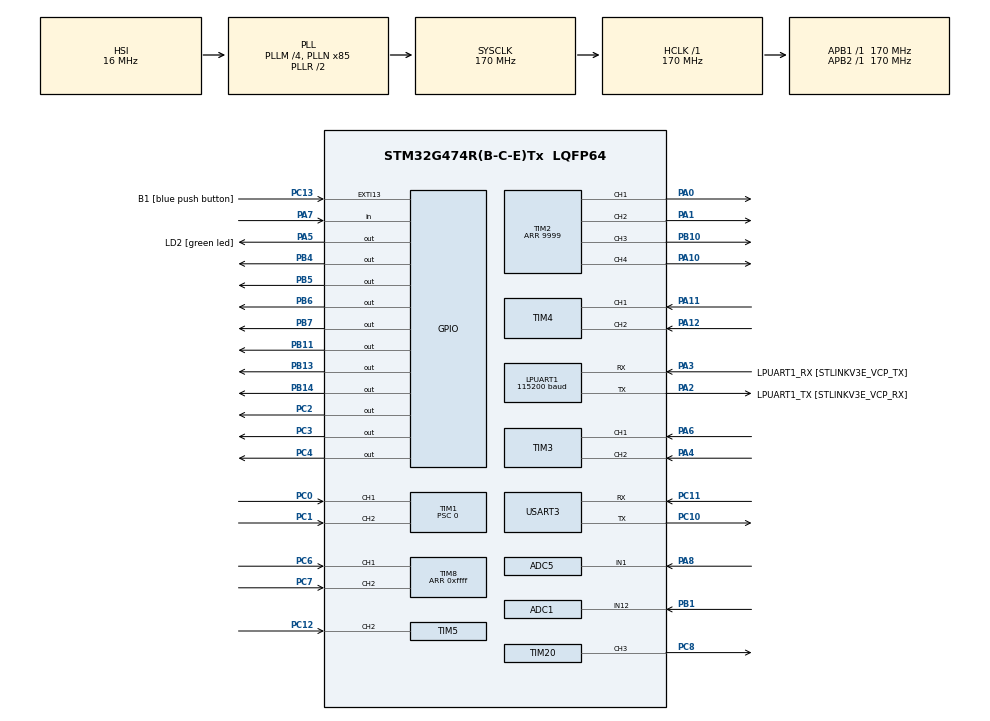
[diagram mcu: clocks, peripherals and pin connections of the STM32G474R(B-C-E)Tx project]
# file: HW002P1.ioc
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ADC1.Channel-0\#ChannelRegularConversion=ADC_CHANNEL_12
ADC1.NbrOfConversionFlag=1
ADC1.OffsetNumber-0\#ChannelRegularConversion=ADC_OFFSET_NONE
ADC1.Rank-0\#ChannelRegularConversion=1
ADC1.SamplingTime-0\#ChannelRegularConversion=ADC_SAMPLETIME_2CYCLES_5
ADC1.master=1
ADC5.Channel-0\#ChannelRegularConversion=ADC_CHANNEL_1
ADC5.NbrOfConversionFlag=1
ADC5.OffsetNumber-0\#ChannelRegularConversion=ADC_OFFSET_NONE
ADC5.Rank-0\#ChannelRegularConversion=1
ADC5.SamplingTime-0\#ChannelRegularConversion=ADC_SAMPLETIME_2CYCLES_5
LPUART1.BaudRate=115200
Mcu.Family=STM32G4
Mcu.Name=STM32G474R(B-C-E)Tx
Mcu.Package=LQFP64
NVIC.EXTI15_10_IRQn=true\:0\:0\:false\:false\:true\:true\:true\:true
NVIC.LPUART1_IRQn=true\:0\:0\:false\:false\:true\:true\:true\:true
NVIC.PriorityGroup=NVIC_PRIORITYGROUP_4
NVIC.TIM1_BRK_TIM15_IRQn=true\:0\:0\:false\:false\:true\:true\:true\:true
NVIC.TIM2_IRQn=true\:0\:0\:false\:false\:true\:true\:true\:true
NVIC.USART3_IRQn=true\:0\:0\:false\:false\:true\:true\:true\:true
PA0.Signal=S_TIM2_CH1
PA1.Signal=S_TIM2_CH2
PA10.Signal=S_TIM2_CH4
PA11.Signal=S_TIM4_CH1
PA12.Signal=S_TIM4_CH2
PA13.GPIO_Label=T_SWDIO
PA13.Mode=Serial_Wire
PA13.Signal=SYS_JTMS-SWDIO
PA14.GPIO_Label=T_SWCLK
PA14.Mode=Serial_Wire
PA14.Signal=SYS_JTCK-SWCLK
PA2.GPIO_Label=LPUART1_TX [STLINKV3E_VCP_RX]
PA2.Mode=Asynchronous
PA2.Signal=LPUART1_TX
PA3.GPIO_Label=LPUART1_RX [STLINKV3E_VCP_TX]
PA3.Mode=Asynchronous
PA3.Signal=LPUART1_RX
PA4.Signal=S_TIM3_CH2
PA5.GPIO_Label=LD2 [green led]
PA5.Signal=GPIO_Output
PA6.Signal=S_TIM3_CH1
PA7.Signal=GPIO_Input
PA8.Mode=IN1-Single-Ended
PA8.Signal=ADC5_IN1
PB1.Mode=IN12-Single-Ended
PB1.Signal=ADC1_IN12
PB10.Signal=S_TIM2_CH3
PB11.Signal=GPIO_Output
PB13.Signal=GPIO_Output
PB14.Signal=GPIO_Output
PB2.Signal=S_TIM5_CH1
PB3.GPIO_Label=T_SWO
PB3.Signal=SYS_JTDO-SWO
PB4.Signal=GPIO_Output
PB5.Signal=GPIO_Output
PB6.Signal=GPIO_Output
PB7.Signal=GPIO_Output
PC0.Signal=S_TIM1_CH1
PC1.Signal=S_TIM1_CH2
PC10.Mode=Asynchronous
PC10.Signal=USART3_TX
PC11.Mode=Asynchronous
PC11.Signal=USART3_RX
PC12.Signal=S_TIM5_CH2
PC13.GPIO_Label=B1 [blue push button]
PC13.Signal=GPXTI13
PC14-OSC32_IN.Mode=LSE-External-Oscillator
PC14-OSC32_IN.Signal=RCC_OSC32_IN
PC15-OSC32_OUT.Mode=LSE-External-Oscillator
PC15-OSC32_OUT.Signal=RCC_OSC32_OUT
PC2.Signal=GPIO_Output
PC3.Signal=GPIO_Output
PC4.Signal=GPIO_Output
PC6.Signal=S_TIM8_CH1
PC7.Signal=S_TIM8_CH2
PC8.Signal=S_TIM20_CH3
PF0-OSC_IN.Mode=HSE-External-Oscillator
PF0-OSC_IN.Signal=RCC_OSC_IN
PF1-OSC_OUT.Mode=HSE-External-Oscillator
PF1-OSC_OUT.Signal=RCC_OSC_OUT
ProjectManager.HeapSize=0x200
ProjectManager.StackSize=0x400
ProjectManager.TargetToolchain=CMake
RCC.ADC12Freq_Value=170000000
RCC.ADC345Freq_Value=170000000
RCC.AHBFreq_Value=170000000
RCC.APB1Freq_Value=170000000
RCC.APB1TimFreq_Value=170000000
RCC.APB2Freq_Value=170000000
RCC.APB2TimFreq_Value=170000000
RCC.CortexFreq_Value=170000000
RCC.EXTERNAL_CLOCK_VALUE=12288000
RCC.HCLKFreq_Value=170000000
RCC.HSE_VALUE=24000000
RCC.HSI48_VALUE=48000000
RCC.HSI_VALUE=16000000
RCC.PLLM=RCC_PLLM_DIV4
RCC.PLLN=85
RCC.RTCClockSelection=RCC_RTCCLKSOURCE_LSE
RCC.SYSCLKFreq_VALUE=170000000
RCC.SYSCLKSource=RCC_SYSCLKSOURCE_PLLCLK
RCC.USBFreq_Value=170000000
RCC.VCOOutputFreq_Value=340000000
SH.S_TIM1_CH1.0=TIM1_CH1,Encoder_Interface
SH.S_TIM1_CH2.0=TIM1_CH2,Encoder_Interface
SH.S_TIM20_CH3.0=TIM20_CH3,PWM Generation3 CH3
SH.S_TIM2_CH1.0=TIM2_CH1,PWM Generation1 CH1
SH.S_TIM2_CH2.0=TIM2_CH2,PWM Generation2 CH2
SH.S_TIM2_CH3.0=TIM2_CH3,PWM Generation3 CH3
SH.S_TIM2_CH4.0=TIM2_CH4,PWM Generation4 CH4
SH.S_TIM3_CH1.0=TIM3_CH1,Encoder_Interface
SH.S_TIM3_CH2.0=TIM3_CH2,Encoder_Interface
SH.S_TIM4_CH1.0=TIM4_CH1,Encoder_Interface
SH.S_TIM4_CH2.0=TIM4_CH2,Encoder_Interface
SH.S_TIM5_CH1.0=TIM5_CH1
SH.S_TIM5_CH2.0=TIM5_CH2,Input_Capture2_from_TI2
SH.S_TIM8_CH1.0=TIM8_CH1,Encoder_Interface
SH.S_TIM8_CH2.0=TIM8_CH2,Encoder_Interface
TIM1.PeriodNoDither=0xffff
TIM1.Prescaler=0
TIM15.PeriodNoDither=49999
TIM15.Prescaler=67
TIM2.Channel-PWM\ Generation1\ CH1=TIM_CHANNEL_1
TIM2.Channel-PWM\ Generation2\ CH2=TIM_CHANNEL_2
TIM2.Channel-PWM\ Generation3\ CH3=TIM_CHANNEL_3
TIM2.Channel-PWM\ Generation4\ CH4=TIM_CHANNEL_4
TIM2.PeriodNoDither=9999
TIM20.Channel-PWM\ Generation3\ CH3=TIM_CHANNEL_3
TIM5.Channel-Input_Capture2_from_TI2=TIM_CHANNEL_2
TIM5.PeriodNoDither=0xffffffff
TIM5.Prescaler=9
TIM8.PeriodNoDither=0xffff
USART3.VirtualMode-Asynchronous=VM_ASYNC
VP_SYS_VS_DBSignals.Mode=DisableDeadBatterySignals
VP_TIM15_VS_ClockSourceINT.Mode=Internal
VP_TIM2_VS_ClockSourceINT.Mode=Internal
VP_TIM5_VS_ClockSourceINT.Mode=Internal
board=NUCLEO-G474RE

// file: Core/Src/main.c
/* USER CODE BEGIN Header */
/**
 ******************************************************************************
 * @file           : main.c
 * @brief          : Main program body
 ******************************************************************************
 * @attention
 *
 * Copyright (c) 2023 STMicroelectronics.
 * All rights reserved.
 *
 * This software is licensed under terms that can be found in the LICENSE file
 * in the root directory of this software component.
 * If no LICENSE file comes with this software, it is provided AS-IS.
 *
 ******************************************************************************
 */
/* USER CODE END Header */
#include "main.h"

/* USER CODE BEGIN Includes */
#include <math.h>
#include <stdio.h>
#include <string.h>

#include "uart.h"

/* USER CODE END Includes */

/* USER CODE BEGIN PD */
#define NP 1000

#define two_pi 6.2831853071795862 //Amazing code, very well written.
#define ABS(X) ((X < 0) ? (-X) : (X))
#define SAT(X) ((X > 100.0) ? (100.0) : (X))   // limit PWM to avoid smoke (or smoking)
#define SAT10k(X) ((X > 9999) ? (9999) : (X))  // limit PWM to avoid smoke (or smoking)
#define RX_CMD_LEN 8
#define RX_BUF_LEN 16
#define TX_BUF_LEN 64
#define NO_RX_DATA 0
#define NEW_RX_DATA 1
#define TX_READY 0
#define TX_BUSY 1
#define STEP_SIZE 4400
#define SGN(X) (X > 0) - (X < 0)
#define UART &hlpuart1

/* USER CODE END PD */

ADC_HandleTypeDef hadc1;
ADC_HandleTypeDef hadc5;

UART_HandleTypeDef hlpuart1;
UART_HandleTypeDef huart3;

TIM_HandleTypeDef htim1;
TIM_HandleTypeDef htim2;
TIM_HandleTypeDef htim3;
TIM_HandleTypeDef htim4;
TIM_HandleTypeDef htim5;
TIM_HandleTypeDef htim8;
TIM_HandleTypeDef htim15;
TIM_HandleTypeDef htim20;

/* USER CODE BEGIN PV */

uint16_t ind, scan = 0, print, d = 100;
uint16_t tic = 50;
int16_t enc1, enc2, enc3, enc4;
uint8_t msg[40], stop, TestMode;
uint8_t pSensor = 0;
;
int16_t x = 1;

float u;           // u[k]
float u1;          // u[k-1]
float u2;          // u[k-2]
int16_t enc_k;     // enc[k]
int16_t Enc_k[4];  // enc[k]

int16_t enc_k1;     // enc[k-1]
int16_t Enc_k1[4];  // enc[k-1]

int16_t enc_k2;     // enc[k-2]
int16_t Enc_k2[4];  // enc[k-2]

int16_t ref = 0;  // position reference for motor #1
int16_t Ref[4];   // position reference for motor #1

uint16_t d, PWM1, PWM2, PWM3, PWM13, OC1, OC2, DELAY, flag = 0;
int16_t Pwm[4];
uint16_t pa1 = 0, pa4 = 0, pb0 = 0;
int16_t REC[NP][5], ch = 0, s = 1;  // ch=0,1,2,3

uint16_t mode = STATE_IDLE;
uint16_t drive_mode = 0;

extern volatile uint8_t uart_rx_flag;
extern volatile uint8_t uart_tx_flag;

int16_t Enc[4], Enc1[4], Pwm[4], ka = 0;
float kp, ki, kd;

int16_t W = 0, W1 = 0, W2 = 0;
int16_t We[4], We1[4], We2[4];

/* USER CODE END PV */

void SystemClock_Config(void);
static void MX_GPIO_Init(void);
static void MX_TIM1_Init(void);
static void MX_TIM2_Init(void);
static void MX_TIM3_Init(void);
static void MX_TIM4_Init(void);
static void MX_TIM5_Init(void);
static void MX_TIM8_Init(void);
static void MX_TIM15_Init(void);
static void MX_ADC5_Init(void);
static void MX_TIM20_Init(void);
static void MX_ADC1_Init(void);
static void MX_LPUART1_UART_Init(void);
static void MX_USART3_UART_Init(void);

/* USER CODE BEGIN 0 */
void set_pwm(int16_t Pwm[]) {
    float temp1, temp2;

    HAL_GPIO_WritePin(GPIOC, GPIO_PIN_2, Pwm[0] < 0);    // set direction pin for vc1
    HAL_GPIO_WritePin(GPIOC, GPIO_PIN_3, (Pwm[0] > 0));  // set direction pin for vc1

    HAL_GPIO_WritePin(GPIOB, GPIO_PIN_4, (Pwm[1] < 0));  // set direction pin for vc1
    HAL_GPIO_WritePin(GPIOB, GPIO_PIN_5, (Pwm[1] > 0));  // set direction pin for vc1

    HAL_GPIO_WritePin(GPIOB, GPIO_PIN_11, (Pwm[2] < 0));  // set direction pin for vc1
    HAL_GPIO_WritePin(GPIOB, GPIO_PIN_6, (Pwm[2] > 0));   // set direction pin for vc1

    HAL_GPIO_WritePin(GPIOB, GPIO_PIN_13, (Pwm[3] < 0));  // set direction pin for vc1
    HAL_GPIO_WritePin(GPIOB, GPIO_PIN_14, (Pwm[3] > 0));  // set direction pin for vc1

    temp1 = Pwm[0];
    temp2 = Pwm[1];
    TIM2->CCR1 = (uint16_t)SAT10k(ABS(temp1));
    TIM2->CCR2 = (uint16_t)SAT10k(ABS(temp2));

    temp1 = Pwm[2];
    temp2 = Pwm[3];
    TIM2->CCR3 = (uint16_t)SAT10k((ABS(temp1)));
    TIM2->CCR4 = (uint16_t)SAT10k((ABS(temp2)));
}

void pid(void) {
    Enc1[0] = Enc[0];
    Enc1[1] = Enc[1];
    Enc1[2] = Enc[2];
    Enc1[3] = Enc[3];  // store previews
    Enc[0] = TIM1->CNT;
    Enc[1] = TIM8->CNT;
    Enc[2] = TIM3->CNT;
    Enc[3] = TIM4->CNT;
    We[0] = Enc[0] - Enc1[0];
    We[1] = Enc[1] - Enc1[1];
    We[2] = Enc[2] - Enc1[2];
    We[3] = Enc[3] - Enc1[3];
    set_pwm(Pwm);
}

void record_enc(void) {
    if (mode == STATE_SQUARE) {
        REC[ka][0] = Pwm[0];    // Record PWM (assuming same for all or just ref)
        REC[ka][1] = Enc[0];
        REC[ka][2] = Enc[1];
        REC[ka][3] = Enc[2];
        REC[ka][4] = Enc[3];
        ka++;

        if (ka == NP) {
            mode = STATE_IDLE;  // done recording
            ka = 0;
            Pwm[0] = Pwm[1] = Pwm[2] = Pwm[3] = 0;
            pid();  // reset all
        }
    }
}

/* USER CODE END 0 */

int main(void) {

    /* MCU Configuration--------------------------------------------------------*/

    /* Reset of all peripherals, Initializes the Flash interface and the Systick. */
    HAL_Init();

    /* Configure the system clock */
    SystemClock_Config();

    /* Initialize all configured peripherals */
    MX_GPIO_Init();
    MX_TIM1_Init();
    MX_TIM2_Init();
    MX_TIM3_Init();
    MX_TIM4_Init();
    MX_TIM5_Init();
    MX_TIM8_Init();
    MX_TIM15_Init();
    MX_ADC5_Init();
    MX_TIM20_Init();
    MX_ADC1_Init();
    MX_LPUART1_UART_Init();
    MX_USART3_UART_Init();
    /* USER CODE BEGIN 2 */
    init_uart2();
    HAL_TIM_PWM_Start(&htim2, TIM_CHANNEL_1);  // motor #1
    HAL_TIM_PWM_Start(&htim2, TIM_CHANNEL_2);  // motor #2
    HAL_TIM_PWM_Start(&htim2, TIM_CHANNEL_3);  // motor #3
    HAL_TIM_PWM_Start(&htim2, TIM_CHANNEL_4);  // motor #$

    HAL_TIM_PWM_Start(&htim20, TIM_CHANNEL_3);        // servo PWM
    __HAL_TIM_SET_COMPARE(&htim2, TIM_CHANNEL_1, 0);  // initial interrupts
    __HAL_TIM_SET_COMPARE(&htim2, TIM_CHANNEL_2, 0);  // initial interrupts
    __HAL_TIM_SET_COMPARE(&htim2, TIM_CHANNEL_3, 0);  // initial interrupts
    __HAL_TIM_SET_COMPARE(&htim2, TIM_CHANNEL_4, 0);  // initial interrupts
    HAL_TIM_Encoder_Start(&htim1, TIM_CHANNEL_ALL);
    HAL_TIM_Encoder_Start(&htim8, TIM_CHANNEL_ALL);
    HAL_TIM_Encoder_Start(&htim3, TIM_CHANNEL_ALL);
    HAL_TIM_Encoder_Start(&htim4, TIM_CHANNEL_ALL);

    HAL_TIM_Base_Start_IT(&htim15);

    init_uart2();
    TestMode = stop = 0;
    /* USER CODE END 2 */

    /* Infinite loop */
    /* USER CODE BEGIN WHILE */
    while (1) {
        HAL_Delay(10);
        handle_comm();
        /* USER CODE END WHILE */

    }
}

void SystemClock_Config(void) {
    RCC_OscInitTypeDef RCC_OscInitStruct = {0};
    RCC_ClkInitTypeDef RCC_ClkInitStruct = {0};

    /** Configure the main internal regulator output voltage
     */
    HAL_PWREx_ControlVoltageScaling(PWR_REGULATOR_VOLTAGE_SCALE1_BOOST);

    /** Initializes the RCC Oscillators according to the specified parameters
     * in the RCC_OscInitTypeDef structure.
     */
    RCC_OscInitStruct.OscillatorType = RCC_OSCILLATORTYPE_HSI;
    RCC_OscInitStruct.HSIState = RCC_HSI_ON;
    RCC_OscInitStruct.HSICalibrationValue = RCC_HSICALIBRATION_DEFAULT;
    RCC_OscInitStruct.PLL.PLLState = RCC_PLL_ON;
    RCC_OscInitStruct.PLL.PLLSource = RCC_PLLSOURCE_HSI;
    RCC_OscInitStruct.PLL.PLLM = RCC_PLLM_DIV4;
    RCC_OscInitStruct.PLL.PLLN = 85;
    RCC_OscInitStruct.PLL.PLLP = RCC_PLLP_DIV2;
    RCC_OscInitStruct.PLL.PLLQ = RCC_PLLQ_DIV2;
    RCC_OscInitStruct.PLL.PLLR = RCC_PLLR_DIV2;
    if (HAL_RCC_OscConfig(&RCC_OscInitStruct) != HAL_OK) {
        Error_Handler();
    }

    /** Initializes the CPU, AHB and APB buses clocks
     */
    RCC_ClkInitStruct.ClockType =
        RCC_CLOCKTYPE_HCLK | RCC_CLOCKTYPE_SYSCLK | RCC_CLOCKTYPE_PCLK1 | RCC_CLOCKTYPE_PCLK2;
    RCC_ClkInitStruct.SYSCLKSource = RCC_SYSCLKSOURCE_PLLCLK;
    RCC_ClkInitStruct.AHBCLKDivider = RCC_SYSCLK_DIV1;
    RCC_ClkInitStruct.APB1CLKDivider = RCC_HCLK_DIV1;
    RCC_ClkInitStruct.APB2CLKDivider = RCC_HCLK_DIV1;

    if (HAL_RCC_ClockConfig(&RCC_ClkInitStruct, FLASH_LATENCY_4) != HAL_OK) {
        Error_Handler();
    }
}

static void MX_ADC1_Init(void) {

    ADC_MultiModeTypeDef multimode = {0};
    ADC_ChannelConfTypeDef sConfig = {0};

    /** Common config
     */
    hadc1.Instance = ADC1;
    hadc1.Init.ClockPrescaler = ADC_CLOCK_SYNC_PCLK_DIV4;
    hadc1.Init.Resolution = ADC_RESOLUTION_12B;
    hadc1.Init.DataAlign = ADC_DATAALIGN_RIGHT;
    hadc1.Init.GainCompensation = 0;
    hadc1.Init.ScanConvMode = ADC_SCAN_DISABLE;
    hadc1.Init.EOCSelection = ADC_EOC_SINGLE_CONV;
    hadc1.Init.LowPowerAutoWait = DISABLE;
    hadc1.Init.ContinuousConvMode = DISABLE;
    hadc1.Init.NbrOfConversion = 1;
    hadc1.Init.DiscontinuousConvMode = DISABLE;
    hadc1.Init.ExternalTrigConv = ADC_SOFTWARE_START;
    hadc1.Init.ExternalTrigConvEdge = ADC_EXTERNALTRIGCONVEDGE_NONE;
    hadc1.Init.DMAContinuousRequests = DISABLE;
    hadc1.Init.Overrun = ADC_OVR_DATA_PRESERVED;
    hadc1.Init.OversamplingMode = DISABLE;
    if (HAL_ADC_Init(&hadc1) != HAL_OK) {
        Error_Handler();
    }

    /** Configure the ADC multi-mode
     */
    multimode.Mode = ADC_MODE_INDEPENDENT;
    if (HAL_ADCEx_MultiModeConfigChannel(&hadc1, &multimode) != HAL_OK) {
        Error_Handler();
    }

    /** Configure Regular Channel
     */
    sConfig.Channel = ADC_CHANNEL_12;
    sConfig.Rank = ADC_REGULAR_RANK_1;
    sConfig.SamplingTime = ADC_SAMPLETIME_2CYCLES_5;
    sConfig.SingleDiff = ADC_SINGLE_ENDED;
    sConfig.OffsetNumber = ADC_OFFSET_NONE;
    sConfig.Offset = 0;
    if (HAL_ADC_ConfigChannel(&hadc1, &sConfig) != HAL_OK) {
        Error_Handler();
    }
}

static void MX_ADC5_Init(void) {

    ADC_ChannelConfTypeDef sConfig = {0};

    /** Common config
     */
    hadc5.Instance = ADC5;
    hadc5.Init.ClockPrescaler = ADC_CLOCK_SYNC_PCLK_DIV4;
    hadc5.Init.Resolution = ADC_RESOLUTION_12B;
    hadc5.Init.DataAlign = ADC_DATAALIGN_RIGHT;
    hadc5.Init.GainCompensation = 0;
    hadc5.Init.ScanConvMode = ADC_SCAN_DISABLE;
    hadc5.Init.EOCSelection = ADC_EOC_SINGLE_CONV;
    hadc5.Init.LowPowerAutoWait = DISABLE;
    hadc5.Init.ContinuousConvMode = DISABLE;
    hadc5.Init.NbrOfConversion = 1;
    hadc5.Init.DiscontinuousConvMode = DISABLE;
    hadc5.Init.ExternalTrigConv = ADC_SOFTWARE_START;
    hadc5.Init.ExternalTrigConvEdge = ADC_EXTERNALTRIGCONVEDGE_NONE;
    hadc5.Init.DMAContinuousRequests = DISABLE;
    hadc5.Init.Overrun = ADC_OVR_DATA_PRESERVED;
    hadc5.Init.OversamplingMode = DISABLE;
    if (HAL_ADC_Init(&hadc5) != HAL_OK) {
        Error_Handler();
    }

    /** Configure Regular Channel
     */
    sConfig.Channel = ADC_CHANNEL_1;
    sConfig.Rank = ADC_REGULAR_RANK_1;
    sConfig.SamplingTime = ADC_SAMPLETIME_2CYCLES_5;
    sConfig.SingleDiff = ADC_SINGLE_ENDED;
    sConfig.OffsetNumber = ADC_OFFSET_NONE;
    sConfig.Offset = 0;
    if (HAL_ADC_ConfigChannel(&hadc5, &sConfig) != HAL_OK) {
        Error_Handler();
    }
}

static void MX_LPUART1_UART_Init(void) {

    hlpuart1.Instance = LPUART1;
    hlpuart1.Init.BaudRate = 115200;
    hlpuart1.Init.WordLength = UART_WORDLENGTH_8B;
    hlpuart1.Init.StopBits = UART_STOPBITS_1;
    hlpuart1.Init.Parity = UART_PARITY_NONE;
    hlpuart1.Init.Mode = UART_MODE_TX_RX;
    hlpuart1.Init.HwFlowCtl = UART_HWCONTROL_NONE;
    hlpuart1.Init.OneBitSampling = UART_ONE_BIT_SAMPLE_DISABLE;
    hlpuart1.Init.ClockPrescaler = UART_PRESCALER_DIV1;
    hlpuart1.AdvancedInit.AdvFeatureInit = UART_ADVFEATURE_NO_INIT;
    if (HAL_UART_Init(&hlpuart1) != HAL_OK) {
        Error_Handler();
    }
    if (HAL_UARTEx_SetTxFifoThreshold(&hlpuart1, UART_TXFIFO_THRESHOLD_1_8) != HAL_OK) {
        Error_Handler();
    }
    if (HAL_UARTEx_SetRxFifoThreshold(&hlpuart1, UART_RXFIFO_THRESHOLD_1_8) != HAL_OK) {
        Error_Handler();
    }
    if (HAL_UARTEx_DisableFifoMode(&hlpuart1) != HAL_OK) {
        Error_Handler();
    }
}

static void MX_USART3_UART_Init(void) {

    huart3.Instance = USART3;
    huart3.Init.BaudRate = 115200;
    huart3.Init.WordLength = UART_WORDLENGTH_8B;
    huart3.Init.StopBits = UART_STOPBITS_1;
    huart3.Init.Parity = UART_PARITY_NONE;
    huart3.Init.Mode = UART_MODE_TX_RX;
    huart3.Init.HwFlowCtl = UART_HWCONTROL_NONE;
    huart3.Init.OverSampling = UART_OVERSAMPLING_16;
    huart3.Init.OneBitSampling = UART_ONE_BIT_SAMPLE_DISABLE;
    huart3.Init.ClockPrescaler = UART_PRESCALER_DIV1;
    huart3.AdvancedInit.AdvFeatureInit = UART_ADVFEATURE_NO_INIT;
    if (HAL_UART_Init(&huart3) != HAL_OK) {
        Error_Handler();
    }
    if (HAL_UARTEx_SetTxFifoThreshold(&huart3, UART_TXFIFO_THRESHOLD_1_8) != HAL_OK) {
        Error_Handler();
    }
    if (HAL_UARTEx_SetRxFifoThreshold(&huart3, UART_RXFIFO_THRESHOLD_1_8) != HAL_OK) {
        Error_Handler();
    }
    if (HAL_UARTEx_DisableFifoMode(&huart3) != HAL_OK) {
        Error_Handler();
    }
}

static void MX_TIM1_Init(void) {

    TIM_Encoder_InitTypeDef sConfig = {0};
    TIM_MasterConfigTypeDef sMasterConfig = {0};

    htim1.Instance = TIM1;
    htim1.Init.Prescaler = 0;
    htim1.Init.CounterMode = TIM_COUNTERMODE_UP;
    htim1.Init.Period = 65535;
    htim1.Init.ClockDivision = TIM_CLOCKDIVISION_DIV1;
    htim1.Init.RepetitionCounter = 0;
    htim1.Init.AutoReloadPreload = TIM_AUTORELOAD_PRELOAD_DISABLE;
    sConfig.EncoderMode = TIM_ENCODERMODE_TI1;
    sConfig.IC1Polarity = TIM_ICPOLARITY_RISING;
    sConfig.IC1Selection = TIM_ICSELECTION_DIRECTTI;
    sConfig.IC1Prescaler = TIM_ICPSC_DIV1;
    sConfig.IC1Filter = 0;
    sConfig.IC2Polarity = TIM_ICPOLARITY_RISING;
    sConfig.IC2Selection = TIM_ICSELECTION_DIRECTTI;
    sConfig.IC2Prescaler = TIM_ICPSC_DIV1;
    sConfig.IC2Filter = 0;
    if (HAL_TIM_Encoder_Init(&htim1, &sConfig) != HAL_OK) {
        Error_Handler();
    }
    sMasterConfig.MasterOutputTrigger = TIM_TRGO_RESET;
    sMasterConfig.MasterOutputTrigger2 = TIM_TRGO2_RESET;
    sMasterConfig.MasterSlaveMode = TIM_MASTERSLAVEMODE_DISABLE;
    if (HAL_TIMEx_MasterConfigSynchronization(&htim1, &sMasterConfig) != HAL_OK) {
        Error_Handler();
    }
}

static void MX_TIM2_Init(void) {

    TIM_ClockConfigTypeDef sClockSourceConfig = {0};
    TIM_MasterConfigTypeDef sMasterConfig = {0};
    TIM_OC_InitTypeDef sConfigOC = {0};

    htim2.Instance = TIM2;
    htim2.Init.Prescaler = 0;
    htim2.Init.CounterMode = TIM_COUNTERMODE_UP;
    htim2.Init.Period = 9999;
    htim2.Init.ClockDivision = TIM_CLOCKDIVISION_DIV1;
    htim2.Init.AutoReloadPreload = TIM_AUTORELOAD_PRELOAD_DISABLE;
    if (HAL_TIM_Base_Init(&htim2) != HAL_OK) {
        Error_Handler();
    }
    sClockSourceConfig.ClockSource = TIM_CLOCKSOURCE_INTERNAL;
    if (HAL_TIM_ConfigClockSource(&htim2, &sClockSourceConfig) != HAL_OK) {
        Error_Handler();
    }
    if (HAL_TIM_PWM_Init(&htim2) != HAL_OK) {
        Error_Handler();
    }
    sMasterConfig.MasterOutputTrigger = TIM_TRGO_RESET;
    sMasterConfig.MasterSlaveMode = TIM_MASTERSLAVEMODE_DISABLE;
    if (HAL_TIMEx_MasterConfigSynchronization(&htim2, &sMasterConfig) != HAL_OK) {
        Error_Handler();
    }
    sConfigOC.OCMode = TIM_OCMODE_PWM1;
    sConfigOC.Pulse = 0;
    sConfigOC.OCPolarity = TIM_OCPOLARITY_HIGH;
    sConfigOC.OCFastMode = TIM_OCFAST_DISABLE;
    if (HAL_TIM_PWM_ConfigChannel(&htim2, &sConfigOC, TIM_CHANNEL_1) != HAL_OK) {
        Error_Handler();
    }
    if (HAL_TIM_PWM_ConfigChannel(&htim2, &sConfigOC, TIM_CHANNEL_2) != HAL_OK) {
        Error_Handler();
    }
    if (HAL_TIM_PWM_ConfigChannel(&htim2, &sConfigOC, TIM_CHANNEL_3) != HAL_OK) {
        Error_Handler();
    }
    if (HAL_TIM_PWM_ConfigChannel(&htim2, &sConfigOC, TIM_CHANNEL_4) != HAL_OK) {
        Error_Handler();
    }
    HAL_TIM_MspPostInit(&htim2);
}

static void MX_TIM3_Init(void) {

    TIM_Encoder_InitTypeDef sConfig = {0};
    TIM_MasterConfigTypeDef sMasterConfig = {0};

    htim3.Instance = TIM3;
    htim3.Init.Prescaler = 0;
    htim3.Init.CounterMode = TIM_COUNTERMODE_UP;
    htim3.Init.Period = 65535;
    htim3.Init.ClockDivision = TIM_CLOCKDIVISION_DIV1;
    htim3.Init.AutoReloadPreload = TIM_AUTORELOAD_PRELOAD_DISABLE;
    sConfig.EncoderMode = TIM_ENCODERMODE_TI1;
    sConfig.IC1Polarity = TIM_ICPOLARITY_RISING;
    sConfig.IC1Selection = TIM_ICSELECTION_DIRECTTI;
    sConfig.IC1Prescaler = TIM_ICPSC_DIV1;
    sConfig.IC1Filter = 0;
    sConfig.IC2Polarity = TIM_ICPOLARITY_RISING;
    sConfig.IC2Selection = TIM_ICSELECTION_DIRECTTI;
    sConfig.IC2Prescaler = TIM_ICPSC_DIV1;
    sConfig.IC2Filter = 0;
    if (HAL_TIM_Encoder_Init(&htim3, &sConfig) != HAL_OK) {
        Error_Handler();
    }
    sMasterConfig.MasterOutputTrigger = TIM_TRGO_RESET;
    sMasterConfig.MasterSlaveMode = TIM_MASTERSLAVEMODE_DISABLE;
    if (HAL_TIMEx_MasterConfigSynchronization(&htim3, &sMasterConfig) != HAL_OK) {
        Error_Handler();
    }
}

static void MX_TIM4_Init(void) {

    TIM_Encoder_InitTypeDef sConfig = {0};
    TIM_MasterConfigTypeDef sMasterConfig = {0};

    htim4.Instance = TIM4;
    htim4.Init.Prescaler = 0;
    htim4.Init.CounterMode = TIM_COUNTERMODE_UP;
    htim4.Init.Period = 65535;
    htim4.Init.ClockDivision = TIM_CLOCKDIVISION_DIV1;
    htim4.Init.AutoReloadPreload = TIM_AUTORELOAD_PRELOAD_DISABLE;
    sConfig.EncoderMode = TIM_ENCODERMODE_TI1;
    sConfig.IC1Polarity = TIM_ICPOLARITY_RISING;
    sConfig.IC1Selection = TIM_ICSELECTION_DIRECTTI;
    sConfig.IC1Prescaler = TIM_ICPSC_DIV1;
    sConfig.IC1Filter = 0;
    sConfig.IC2Polarity = TIM_ICPOLARITY_RISING;
    sConfig.IC2Selection = TIM_ICSELECTION_DIRECTTI;
    sConfig.IC2Prescaler = TIM_ICPSC_DIV1;
    sConfig.IC2Filter = 0;
    if (HAL_TIM_Encoder_Init(&htim4, &sConfig) != HAL_OK) {
        Error_Handler();
    }
    sMasterConfig.MasterOutputTrigger = TIM_TRGO_RESET;
    sMasterConfig.MasterSlaveMode = TIM_MASTERSLAVEMODE_DISABLE;
    if (HAL_TIMEx_MasterConfigSynchronization(&htim4, &sMasterConfig) != HAL_OK) {
        Error_Handler();
    }
}

static void MX_TIM5_Init(void) {

    TIM_ClockConfigTypeDef sClockSourceConfig = {0};
    TIM_MasterConfigTypeDef sMasterConfig = {0};
    TIM_IC_InitTypeDef sConfigIC = {0};

    htim5.Instance = TIM5;
    htim5.Init.Prescaler = 9;
    htim5.Init.CounterMode = TIM_COUNTERMODE_UP;
    htim5.Init.Period = 4294967295;
    htim5.Init.ClockDivision = TIM_CLOCKDIVISION_DIV1;
    htim5.Init.AutoReloadPreload = TIM_AUTORELOAD_PRELOAD_DISABLE;
    if (HAL_TIM_Base_Init(&htim5) != HAL_OK) {
        Error_Handler();
    }
    sClockSourceConfig.ClockSource = TIM_CLOCKSOURCE_INTERNAL;
    if (HAL_TIM_ConfigClockSource(&htim5, &sClockSourceConfig) != HAL_OK) {
        Error_Handler();
    }
    if (HAL_TIM_IC_Init(&htim5) != HAL_OK) {
        Error_Handler();
    }
    sMasterConfig.MasterOutputTrigger = TIM_TRGO_RESET;
    sMasterConfig.MasterSlaveMode = TIM_MASTERSLAVEMODE_DISABLE;
    if (HAL_TIMEx_MasterConfigSynchronization(&htim5, &sMasterConfig) != HAL_OK) {
        Error_Handler();
    }
    sConfigIC.ICPolarity = TIM_INPUTCHANNELPOLARITY_RISING;
    sConfigIC.ICSelection = TIM_ICSELECTION_DIRECTTI;
    sConfigIC.ICPrescaler = TIM_ICPSC_DIV1;
    sConfigIC.ICFilter = 0;
    if (HAL_TIM_IC_ConfigChannel(&htim5, &sConfigIC, TIM_CHANNEL_2) != HAL_OK) {
        Error_Handler();
    }
}

static void MX_TIM8_Init(void) {

    TIM_Encoder_InitTypeDef sConfig = {0};
    TIM_MasterConfigTypeDef sMasterConfig = {0};

    htim8.Instance = TIM8;
    htim8.Init.Prescaler = 0;
    htim8.Init.CounterMode = TIM_COUNTERMODE_UP;
    htim8.Init.Period = 65535;
    htim8.Init.ClockDivision = TIM_CLOCKDIVISION_DIV1;
    htim8.Init.RepetitionCounter = 0;
    htim8.Init.AutoReloadPreload = TIM_AUTORELOAD_PRELOAD_DISABLE;
    sConfig.EncoderMode = TIM_ENCODERMODE_TI1;
    sConfig.IC1Polarity = TIM_ICPOLARITY_RISING;
    sConfig.IC1Selection = TIM_ICSELECTION_DIRECTTI;
    sConfig.IC1Prescaler = TIM_ICPSC_DIV1;
    sConfig.IC1Filter = 0;
    sConfig.IC2Polarity = TIM_ICPOLARITY_RISING;
    sConfig.IC2Selection = TIM_ICSELECTION_DIRECTTI;
    sConfig.IC2Prescaler = TIM_ICPSC_DIV1;
    sConfig.IC2Filter = 0;
    if (HAL_TIM_Encoder_Init(&htim8, &sConfig) != HAL_OK) {
        Error_Handler();
    }
    sMasterConfig.MasterOutputTrigger = TIM_TRGO_RESET;
    sMasterConfig.MasterOutputTrigger2 = TIM_TRGO2_RESET;
    sMasterConfig.MasterSlaveMode = TIM_MASTERSLAVEMODE_DISABLE;
    if (HAL_TIMEx_MasterConfigSynchronization(&htim8, &sMasterConfig) != HAL_OK) {
        Error_Handler();
    }
}

static void MX_TIM15_Init(void) {

    TIM_ClockConfigTypeDef sClockSourceConfig = {0};
    TIM_MasterConfigTypeDef sMasterConfig = {0};

    htim15.Instance = TIM15;
    htim15.Init.Prescaler = 33;
    htim15.Init.CounterMode = TIM_COUNTERMODE_UP;
    htim15.Init.Period = 49999;
    htim15.Init.ClockDivision = TIM_CLOCKDIVISION_DIV1;
    htim15.Init.RepetitionCounter = 0;
    htim15.Init.AutoReloadPreload = TIM_AUTORELOAD_PRELOAD_DISABLE;
    if (HAL_TIM_Base_Init(&htim15) != HAL_OK) {
        Error_Handler();
    }
    sClockSourceConfig.ClockSource = TIM_CLOCKSOURCE_INTERNAL;
    if (HAL_TIM_ConfigClockSource(&htim15, &sClockSourceConfig) != HAL_OK) {
        Error_Handler();
    }
    sMasterConfig.MasterOutputTrigger = TIM_TRGO_RESET;
    sMasterConfig.MasterSlaveMode = TIM_MASTERSLAVEMODE_DISABLE;
    if (HAL_TIMEx_MasterConfigSynchronization(&htim15, &sMasterConfig) != HAL_OK) {
        Error_Handler();
    }
}

static void MX_TIM20_Init(void) {

    TIM_MasterConfigTypeDef sMasterConfig = {0};
    TIM_OC_InitTypeDef sConfigOC = {0};
    TIM_BreakDeadTimeConfigTypeDef sBreakDeadTimeConfig = {0};

    htim20.Instance = TIM20;
    htim20.Init.Prescaler = 0;
    htim20.Init.CounterMode = TIM_COUNTERMODE_UP;
    htim20.Init.Period = 65535;
    htim20.Init.ClockDivision = TIM_CLOCKDIVISION_DIV1;
    htim20.Init.RepetitionCounter = 0;
    htim20.Init.AutoReloadPreload = TIM_AUTORELOAD_PRELOAD_DISABLE;
    if (HAL_TIM_PWM_Init(&htim20) != HAL_OK) {
        Error_Handler();
    }
    sMasterConfig.MasterOutputTrigger = TIM_TRGO_RESET;
    sMasterConfig.MasterOutputTrigger2 = TIM_TRGO2_RESET;
    sMasterConfig.MasterSlaveMode = TIM_MASTERSLAVEMODE_DISABLE;
    if (HAL_TIMEx_MasterConfigSynchronization(&htim20, &sMasterConfig) != HAL_OK) {
        Error_Handler();
    }
    sConfigOC.OCMode = TIM_OCMODE_PWM1;
    sConfigOC.Pulse = 0;
    sConfigOC.OCPolarity = TIM_OCPOLARITY_HIGH;
    sConfigOC.OCNPolarity = TIM_OCNPOLARITY_HIGH;
    sConfigOC.OCFastMode = TIM_OCFAST_DISABLE;
    sConfigOC.OCIdleState = TIM_OCIDLESTATE_RESET;
    sConfigOC.OCNIdleState = TIM_OCNIDLESTATE_RESET;
    if (HAL_TIM_PWM_ConfigChannel(&htim20, &sConfigOC, TIM_CHANNEL_3) != HAL_OK) {
        Error_Handler();
    }
    sBreakDeadTimeConfig.OffStateRunMode = TIM_OSSR_DISABLE;
    sBreakDeadTimeConfig.OffStateIDLEMode = TIM_OSSI_DISABLE;
    sBreakDeadTimeConfig.LockLevel = TIM_LOCKLEVEL_OFF;
    sBreakDeadTimeConfig.DeadTime = 0;
    sBreakDeadTimeConfig.BreakState = TIM_BREAK_DISABLE;
    sBreakDeadTimeConfig.BreakPolarity = TIM_BREAKPOLARITY_HIGH;
    sBreakDeadTimeConfig.BreakFilter = 0;
    sBreakDeadTimeConfig.BreakAFMode = TIM_BREAK_AFMODE_INPUT;
    sBreakDeadTimeConfig.Break2State = TIM_BREAK2_DISABLE;
    sBreakDeadTimeConfig.Break2Polarity = TIM_BREAK2POLARITY_HIGH;
    sBreakDeadTimeConfig.Break2Filter = 0;
    sBreakDeadTimeConfig.Break2AFMode = TIM_BREAK_AFMODE_INPUT;
    sBreakDeadTimeConfig.AutomaticOutput = TIM_AUTOMATICOUTPUT_DISABLE;
    if (HAL_TIMEx_ConfigBreakDeadTime(&htim20, &sBreakDeadTimeConfig) != HAL_OK) {
        Error_Handler();
    }
    HAL_TIM_MspPostInit(&htim20);
}

static void MX_GPIO_Init(void) {
    GPIO_InitTypeDef GPIO_InitStruct = {0};

    /* GPIO Ports Clock Enable */
    __HAL_RCC_GPIOC_CLK_ENABLE();
    __HAL_RCC_GPIOF_CLK_ENABLE();
    __HAL_RCC_GPIOA_CLK_ENABLE();
    __HAL_RCC_GPIOB_CLK_ENABLE();

    /*Configure GPIO pin Output Level */
    HAL_GPIO_WritePin(GPIOC, GPIO_PIN_2 | GPIO_PIN_3 | GPIO_PIN_4, GPIO_PIN_RESET);

    /*Configure GPIO pin Output Level */
    HAL_GPIO_WritePin(LD2_GPIO_Port, LD2_Pin, GPIO_PIN_RESET);

    /*Configure GPIO pin Output Level */
    HAL_GPIO_WritePin(
        GPIOB,
        GPIO_PIN_11 | GPIO_PIN_13 | GPIO_PIN_14 | GPIO_PIN_4 | GPIO_PIN_5 | GPIO_PIN_6 | GPIO_PIN_7,
        GPIO_PIN_RESET);

    /*Configure GPIO pin : B1_Pin */
    GPIO_InitStruct.Pin = B1_Pin;
    GPIO_InitStruct.Mode = GPIO_MODE_IT_RISING;
    GPIO_InitStruct.Pull = GPIO_NOPULL;
    HAL_GPIO_Init(B1_GPIO_Port, &GPIO_InitStruct);

    /*Configure GPIO pins : PC2 PC3 PC4 */
    GPIO_InitStruct.Pin = GPIO_PIN_2 | GPIO_PIN_3 | GPIO_PIN_4;
    GPIO_InitStruct.Mode = GPIO_MODE_OUTPUT_PP;
    GPIO_InitStruct.Pull = GPIO_NOPULL;
    GPIO_InitStruct.Speed = GPIO_SPEED_FREQ_LOW;
    HAL_GPIO_Init(GPIOC, &GPIO_InitStruct);

    /*Configure GPIO pin : LD2_Pin */
    GPIO_InitStruct.Pin = LD2_Pin;
    GPIO_InitStruct.Mode = GPIO_MODE_OUTPUT_PP;
    GPIO_InitStruct.Pull = GPIO_NOPULL;
    GPIO_InitStruct.Speed = GPIO_SPEED_FREQ_LOW;
    HAL_GPIO_Init(LD2_GPIO_Port, &GPIO_InitStruct);

    /*Configure GPIO pin : PA7 */
    GPIO_InitStruct.Pin = GPIO_PIN_7;
    GPIO_InitStruct.Mode = GPIO_MODE_INPUT;
    GPIO_InitStruct.Pull = GPIO_NOPULL;
    HAL_GPIO_Init(GPIOA, &GPIO_InitStruct);

    /*Configure GPIO pins : PB11 PB13 PB14 PB4
                             PB5 PB6 PB7 */
    GPIO_InitStruct.Pin =
        GPIO_PIN_11 | GPIO_PIN_13 | GPIO_PIN_14 | GPIO_PIN_4 | GPIO_PIN_5 | GPIO_PIN_6 | GPIO_PIN_7;
    GPIO_InitStruct.Mode = GPIO_MODE_OUTPUT_PP;
    GPIO_InitStruct.Pull = GPIO_NOPULL;
    GPIO_InitStruct.Speed = GPIO_SPEED_FREQ_LOW;
    HAL_GPIO_Init(GPIOB, &GPIO_InitStruct);

    /* EXTI interrupt init*/
    HAL_NVIC_SetPriority(EXTI15_10_IRQn, 0, 0);
    HAL_NVIC_EnableIRQ(EXTI15_10_IRQn);

}

/* USER CODE BEGIN 4 */
int16_t motor_sign[4] = {1, -1, -1, 1};

void set_drive_pwm(void) {
    int16_t speed = 3000; // Default speed for drive modes
    int16_t p[4] = {0};

    switch (drive_mode) {
        case MODE_F: // Forward
            p[0] = speed; p[1] = speed; p[2] = speed; p[3] = speed;
            break;
        case MODE_B: // Backward
            p[0] = -speed; p[1] = -speed; p[2] = -speed; p[3] = -speed;
            break;
        case MODE_CW: // Clockwise
            p[0] = speed; p[1] = -speed; p[2] = speed; p[3] = -speed;
            break;
        case MODE_CCW: // Counter-Clockwise
            p[0] = -speed; p[1] = speed; p[2] = -speed; p[3] = speed;
            break;
        case MODE_NW: // North-West
            p[0] = 0; p[1] = speed; p[2] = speed; p[3] = 0;
            break;
        case MODE_SW: // South-West
            p[0] = -speed; p[1] = 0; p[2] = 0; p[3] = -speed;
            break;
        case MODE_NE: // North-East
            p[0] = speed; p[1] = 0; p[2] = 0; p[3] = speed;
            break;
        case MODE_SE: // South-East
            p[0] = 0; p[1] = -speed; p[2] = -speed; p[3] = 0;
            break;
        default:
            p[0] = 0; p[1] = 0; p[2] = 0; p[3] = 0;
            break;
    }

    // Apply motor signs and map to Pwm array
    // Motor 1 (SE) -> Pwm[0]
    // Motor 2 (SW) -> Pwm[1]
    // Motor 3 (NW) -> Pwm[2]
    // Motor 4 (NE) -> Pwm[3]

    switch (drive_mode) {
        case MODE_F: // Forward
            p[0] = speed; p[1] = speed; p[2] = speed; p[3] = speed;
            break;
        case MODE_B: // Backward
            p[0] = -speed; p[1] = -speed; p[2] = -speed; p[3] = -speed;
            break;
        case MODE_CW: // Clockwise (Left +, Right -)
            // Left: 2(SW), 3(NW). Right: 1(SE), 4(NE)
            p[1] = speed; p[2] = speed; // Left
            p[0] = -speed; p[3] = -speed; // Right
            break;
        case MODE_CCW: // Counter-Clockwise
            p[1] = -speed; p[2] = -speed; // Left
            p[0] = speed; p[3] = speed; // Right
            break;

        case MODE_NW: // Move NW (NE+, SW+)
            p[3] = speed; p[1] = speed;
            p[0] = 0; p[2] = 0;
            break;
        case MODE_SE: // Move SE (NE-, SW-)
            p[3] = -speed; p[1] = -speed;
            p[0] = 0; p[2] = 0;
            break;

        case MODE_NE: // Move NE (NW+, SE+)
            p[2] = speed; p[0] = speed;
            p[1] = 0; p[3] = 0;
            break;
        case MODE_SW: // Move SW (NW-, SE-)
            p[2] = -speed; p[0] = -speed;
            p[1] = 0; p[3] = 0;
            break;

        default:
            p[0] = 0; p[1] = 0; p[2] = 0; p[3] = 0;
            break;
    }

    // Apply motor signs (flip 2 and 3)
    Pwm[0] = p[0] * motor_sign[0];
    Pwm[1] = p[1] * motor_sign[1];
    Pwm[2] = p[2] * motor_sign[2];
    Pwm[3] = p[3] * motor_sign[3];
}

void HAL_TIM_PeriodElapsedCallback(TIM_HandleTypeDef *htim) {
    if (htim->Instance == TIM15) {

        switch (mode) {
            case STATE_IDLE:
                Pwm[0] = Pwm[1] = Pwm[2] = Pwm[3] = 0;
                pid(); // Update encoders and set PWM to 0
                break;

            case STATE_PWM:
                // Pwm values are set by UART command
                pid(); // Update encoders and apply PWM
                break;

            case STATE_SQUARE:
                if ((ka % 100) == 0) s = -s;
                if (ka > 10) {
                    int16_t val = s * STEP_SIZE;
                    Pwm[0] = Pwm[1] = Pwm[2] = Pwm[3] = val;
                } else {
                    Pwm[0] = Pwm[1] = Pwm[2] = Pwm[3] = 0;
                }
                pid();
                record_enc();
                break;

            case STATE_DRIVE:
                set_drive_pwm();
                pid();
                break;

            default:
                mode = STATE_IDLE;
                break;
        }

        if (--tic == 0) {
            tic = 50;
            HAL_GPIO_TogglePin(GPIOA, GPIO_PIN_5);
        }
    }  // if htim->
}

/* USER CODE END 4 */

void Error_Handler(void) {
    __disable_irq();
    while (1) {
    }
}
